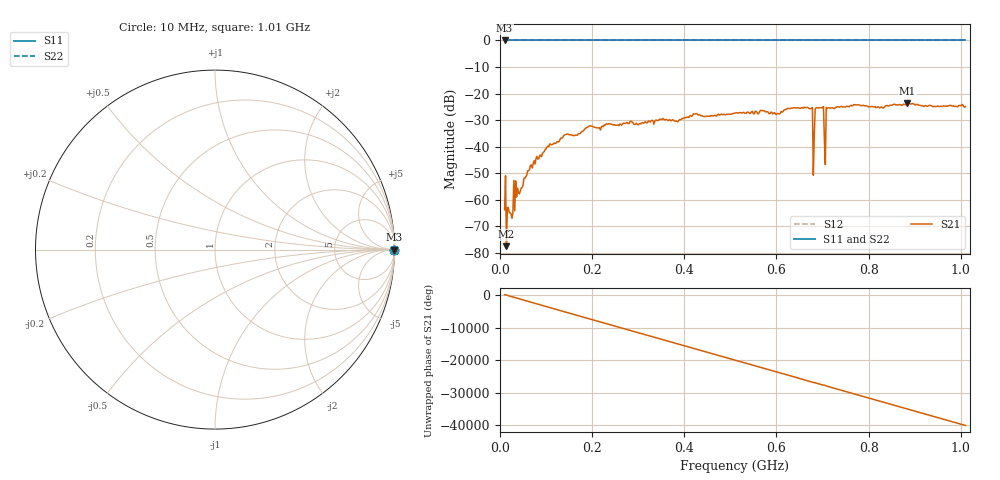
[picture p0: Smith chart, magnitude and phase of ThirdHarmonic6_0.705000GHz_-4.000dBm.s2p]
! 8/15/2025 11:33:03 PM
! C:\ANRITSUVNA\TEMP\TEMP.S2P
! CHANNEL.1
! TR.MEASUREMENT
! RAW.DATA
! RF.CORRECTION.OFF
! AVERAGING.OFF
! IF.BANDWIDTH: 5KHZ
! SWEEPTYPE:  FREQ.SWEEP(Linear)
! Reference Plane Port Info
! PORT:  PORT1  PORT2
! DISTANCE:  0  m  0  m
! TIME:  0  s  0  s
! PHASE.OFFSET:  0  deg.  0  deg.
! LOSS:  0  dB  0  dB
! REF.LOSS:  0  dB  0  dB
! REF.FREQ:  0  Hz  0  Hz
! Power Info
! POWER:  -20  dBm  -20  dBm
! EFF.POWER:  -20  dBm  -20  dBm
! SOURCE.ATTEN:  0  dB  0  dB
! TEST.ATTEN:  0  dB  0  dB
# GHZ S RI R 50.0
! FREQ.GHZ  S11RE  S11IM  S21RE  S21IM  S12RE  S12IM  S22RE  S22IM
!; PortSelection: Port_12
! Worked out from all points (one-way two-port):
!   501 points, 10 MHz to 1.01 GHz, reference 50 ohm
!   highest |S21| = -23.72 dB at 884 MHz (marker M1); lowest = -77.4 dB at 14 MHz (marker M2)
!   lowest |S11| = 0.0 dB at 10 MHz (marker M3)
!   |S11| at or under -10 dB: nowhere
!   |S22| runs from 0.0 to 0.0 dB; largest |S21 - S12| = 1.1
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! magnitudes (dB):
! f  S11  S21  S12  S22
! 10 MHz  0.0  -63.7  0.0  0.0
! 14 MHz  0.0  -77.4  0.0  0.0
! 18 MHz  0.0  -62.8  0.0  0.0
! 24 MHz  0.0  -65.3  0.0  0.0
! 34 MHz  0.0  -52.8  0.0  0.0
! 44 MHz  0.0  -56.6  0.0  0.0
! 64 MHz  0.0  -48.6  0.0  0.0
! 104 MHz  0.0  -39.8  0.0  0.0
! 178 MHz  0.0  -34.3  0.0  0.0
! 344 MHz  0.0  -30.1  0.0  0.0
! 510 MHz  0.0  -27.3  0.0  0.0
! 674 MHz  0.0  -25.7  0.0  0.0
! 678 MHz  0.0  -25.2  0.0  0.0
! 684 MHz  0.0  -25.7  0.0  0.0
! 688 MHz  0.0  -25.3  0.0  0.0
! 698 MHz  0.0  -25.3  0.0  0.0
! 702 MHz  0.0  -24.8  0.0  0.0
! 708 MHz  0.0  -25.2  0.0  0.0
! 712 MHz  0.0  -25.4  0.0  0.0
! 844 MHz  0.0  -24.6  0.0  0.0
! 884 MHz  0.0  -23.7  0.0  0.0
! 1.01 GHz  0.0  -24.9  0.0  0.0
